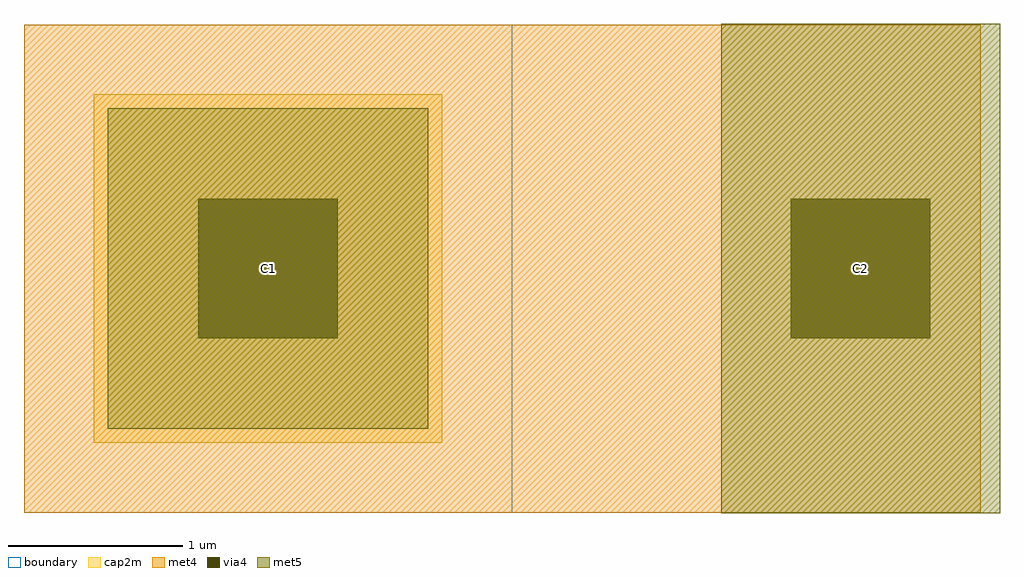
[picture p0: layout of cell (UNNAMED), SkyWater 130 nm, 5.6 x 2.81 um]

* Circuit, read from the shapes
.subckt (UNNAMED) C1 C2
XC1 C1 C2 sky130_fd_pr__cap_mim_m3_2 w=2 l=2
.ends

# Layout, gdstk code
import gdstk
lib = gdstk.Library(unit=1e-6, precision=1e-09)
def R(c, l, rs):  # rectangles x0, y0, x1, y1
    for r in rs: c.add(gdstk.rectangle(r[:2], r[2:], *l))
met4 = (71, 20)
via4 = (71, 44)
met5 = (72, 20)
cap2m = (97, 44)
boundary = (235, 4)

c__unnamed_ = lib.new_cell('(UNNAMED)')
R(c__unnamed_, met4, [(-2.745,-1.4,2.745,1.4)])
R(c__unnamed_, via4, [(-1.745,-0.4,-0.945,0.4), (1.655,-0.4,2.455,0.4)])
R(c__unnamed_, met5, [(1.255,-1.405,2.855,1.405), (-2.265,-0.92,-0.425,0.92)])
R(c__unnamed_, cap2m, [(-2.345,-1,-0.345,1)])
R(c__unnamed_, boundary, [(-2.745,-1.4,0.055,1.4)])
c__unnamed_.add(gdstk.Label('C2', (2.055,0), layer=72, texttype=5))
c__unnamed_.add(gdstk.Label('C1', (-1.345,0), layer=72, texttype=5))

lib.write_gds('_UNNAMED_.gds')
